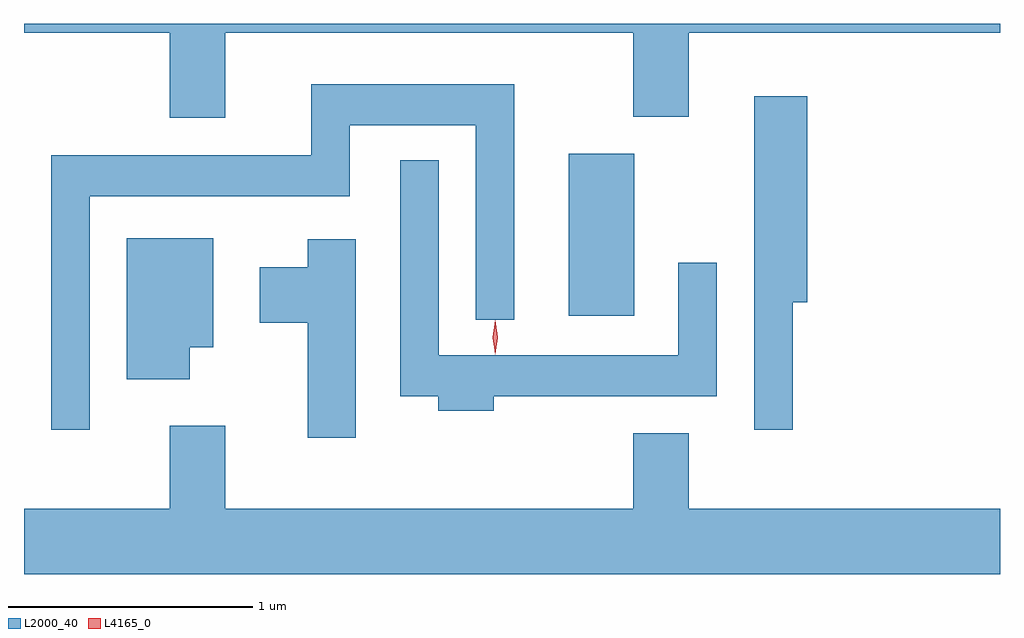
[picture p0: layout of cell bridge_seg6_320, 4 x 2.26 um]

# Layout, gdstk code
import gdstk
lib = gdstk.Library(unit=1e-6, precision=1e-09)
def R(c, l, rs):  # rectangles x0, y0, x1, y1
    for r in rs: c.add(gdstk.rectangle(r[:2], r[2:], *l))
def P(c, l, *ps):  # polygons
    for p in ps: c.add(gdstk.Polygon(p, *l))
L2000_40 = (2000, 40)
L4165_0 = (4165, 0)

bridge_seg6_320 = lib.new_cell('bridge_seg6_320')
R(bridge_seg6_320, L2000_40, [(1323.036,1539.996,1323.304,1540.659)])
P(bridge_seg6_320, L2000_40, [(1321.629,1541.156),(1323.301,1541.156),(1323.301,1540.811),(1323.529,1540.811),(1323.529,1541.156),(1324.804,1541.156),(1324.804,1541.192),(1320.804,1541.192),(1320.804,1541.156),(1321.401,1541.156),(1321.401,1540.806),(1321.629,1540.806)],
  [(1321.074,1540.486),(1322.139,1540.486),(1322.139,1540.776),(1322.656,1540.776),(1322.656,1539.978),(1322.814,1539.978),(1322.814,1540.944),(1321.981,1540.944),(1321.981,1540.654),(1320.916,1540.654),(1320.916,1539.528),(1321.074,1539.528)],
  [(1323.954,1540.051),(1324.014,1540.051),(1324.014,1540.894),(1323.796,1540.894),(1323.796,1539.528),(1323.954,1539.528)],
  [(1322.729,1539.666),(1323.644,1539.666),(1323.644,1540.213),(1323.486,1540.213),(1323.486,1539.834),(1322.504,1539.834),(1322.504,1540.633),(1322.346,1540.633),(1322.346,1539.666),(1322.501,1539.666),(1322.501,1539.606),(1322.729,1539.606)],
  [(1321.484,1539.866),(1321.579,1539.866),(1321.579,1540.314),(1321.226,1540.314),(1321.226,1539.736),(1321.484,1539.736)],
  [(1322.164,1540.309),(1321.966,1540.309),(1321.966,1540.194),(1321.771,1540.194),(1321.771,1539.966),(1321.966,1539.966),(1321.966,1539.496),(1322.164,1539.496)],
  [(1323.301,1539.514),(1323.301,1539.204),(1321.629,1539.204),(1321.629,1539.544),(1321.401,1539.544),(1321.401,1539.204),(1320.804,1539.204),(1320.804,1538.936),(1324.804,1538.936),(1324.804,1539.204),(1323.529,1539.204),(1323.529,1539.514)])
P(bridge_seg6_320, L4165_0, [(1322.735,1539.837),(1322.735,1539.838),(1322.725,1539.907),(1322.735,1539.976),(1322.735,1539.976),(1322.736,1539.976),(1322.745,1539.907),(1322.736,1539.838)],
  [(1322.736,1539.839),(1322.735,1539.84),(1322.726,1539.906),(1322.735,1539.972),(1322.736,1539.973),(1322.736,1539.972),(1322.746,1539.906),(1322.736,1539.84)])

lib.write_gds('bridge_seg6_320.gds')
